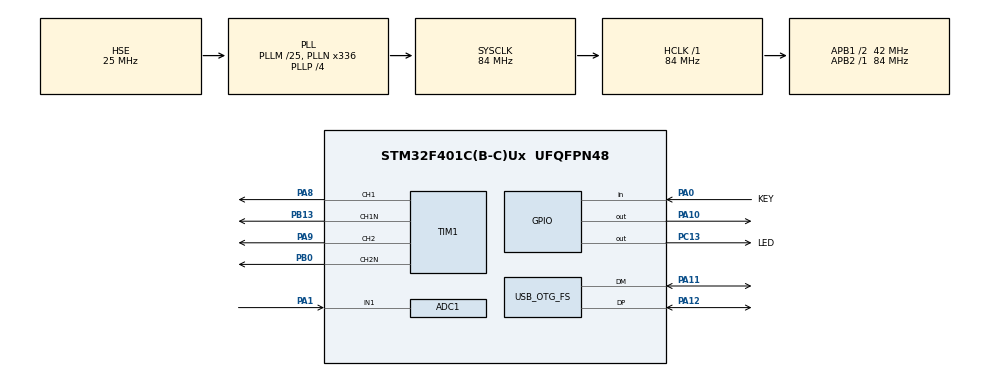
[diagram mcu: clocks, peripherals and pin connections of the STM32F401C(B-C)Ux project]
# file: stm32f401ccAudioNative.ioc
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ADC1.Channel-0\#ChannelRegularConversion=ADC_CHANNEL_1
ADC1.DMAContinuousRequests=ENABLE
ADC1.ExternalTrigConv=ADC_EXTERNALTRIGCONV_T2_TRGO
ADC1.NbrOfConversionFlag=1
ADC1.Rank-0\#ChannelRegularConversion=1
ADC1.SamplingTime-0\#ChannelRegularConversion=ADC_SAMPLETIME_3CYCLES
ADC1.master=1
Dma.ADC1.2.Direction=DMA_PERIPH_TO_MEMORY
Dma.ADC1.2.FIFOMode=DMA_FIFOMODE_DISABLE
Dma.ADC1.2.Instance=DMA2_Stream0
Dma.ADC1.2.MemDataAlignment=DMA_MDATAALIGN_HALFWORD
Dma.ADC1.2.MemInc=DMA_MINC_ENABLE
Dma.ADC1.2.Mode=DMA_CIRCULAR
Dma.ADC1.2.PeriphDataAlignment=DMA_PDATAALIGN_HALFWORD
Dma.ADC1.2.PeriphInc=DMA_PINC_DISABLE
Dma.ADC1.2.Priority=DMA_PRIORITY_VERY_HIGH
Dma.Request0=TIM1_CH1
Dma.Request1=TIM1_CH2
Dma.Request2=ADC1
Dma.TIM1_CH1.0.Direction=DMA_MEMORY_TO_PERIPH
Dma.TIM1_CH1.0.FIFOMode=DMA_FIFOMODE_ENABLE
Dma.TIM1_CH1.0.FIFOThreshold=DMA_FIFO_THRESHOLD_FULL
Dma.TIM1_CH1.0.Instance=DMA2_Stream1
Dma.TIM1_CH1.0.MemBurst=DMA_MBURST_INC8
Dma.TIM1_CH1.0.MemDataAlignment=DMA_MDATAALIGN_HALFWORD
Dma.TIM1_CH1.0.MemInc=DMA_MINC_ENABLE
Dma.TIM1_CH1.0.Mode=DMA_CIRCULAR
Dma.TIM1_CH1.0.PeriphBurst=DMA_PBURST_SINGLE
Dma.TIM1_CH1.0.PeriphDataAlignment=DMA_PDATAALIGN_HALFWORD
Dma.TIM1_CH1.0.PeriphInc=DMA_PINC_DISABLE
Dma.TIM1_CH1.0.Priority=DMA_PRIORITY_HIGH
Dma.TIM1_CH2.1.Direction=DMA_MEMORY_TO_PERIPH
Dma.TIM1_CH2.1.FIFOMode=DMA_FIFOMODE_ENABLE
Dma.TIM1_CH2.1.FIFOThreshold=DMA_FIFO_THRESHOLD_FULL
Dma.TIM1_CH2.1.Instance=DMA2_Stream2
Dma.TIM1_CH2.1.MemBurst=DMA_MBURST_INC8
Dma.TIM1_CH2.1.MemDataAlignment=DMA_MDATAALIGN_HALFWORD
Dma.TIM1_CH2.1.MemInc=DMA_MINC_ENABLE
Dma.TIM1_CH2.1.Mode=DMA_CIRCULAR
Dma.TIM1_CH2.1.PeriphBurst=DMA_PBURST_SINGLE
Dma.TIM1_CH2.1.PeriphDataAlignment=DMA_PDATAALIGN_HALFWORD
Dma.TIM1_CH2.1.PeriphInc=DMA_PINC_DISABLE
Dma.TIM1_CH2.1.Priority=DMA_PRIORITY_HIGH
Mcu.Family=STM32F4
Mcu.Name=STM32F401C(B-C)Ux
Mcu.Package=UFQFPN48
NVIC.DMA2_Stream0_IRQn=true\:0\:0\:false\:false\:true\:false\:true\:true
NVIC.DMA2_Stream1_IRQn=true\:0\:0\:false\:false\:true\:false\:true\:true
NVIC.DMA2_Stream2_IRQn=true\:0\:0\:false\:false\:true\:false\:true\:true
NVIC.OTG_FS_IRQn=true\:0\:0\:false\:false\:true\:false\:true\:true
NVIC.PriorityGroup=NVIC_PRIORITYGROUP_4
PA0-WKUP.GPIO_Label=KEY
PA0-WKUP.GPIO_PuPd=GPIO_PULLUP
PA0-WKUP.Signal=GPIO_Input
PA1.Signal=ADCx_IN1
PA10.Signal=GPIO_Output
PA11.Mode=Device_Only
PA11.Signal=USB_OTG_FS_DM
PA12.Mode=Device_Only
PA12.Signal=USB_OTG_FS_DP
PA13.Mode=Serial_Wire
PA13.Signal=SYS_JTMS-SWDIO
PA14.Mode=Serial_Wire
PA14.Signal=SYS_JTCK-SWCLK
PA8.GPIO_ModeDefaultPP=GPIO_MODE_AF_OD
PA8.GPIO_PuPd=GPIO_PULLUP
PA8.GPIO_Speed=GPIO_SPEED_FREQ_HIGH
PA8.Signal=S_TIM1_CH1
PA9.GPIO_ModeDefaultPP=GPIO_MODE_AF_OD
PA9.GPIO_PuPd=GPIO_PULLUP
PA9.GPIO_Speed=GPIO_SPEED_FREQ_HIGH
PA9.Signal=S_TIM1_CH2
PB0.GPIO_ModeDefaultPP=GPIO_MODE_AF_PP
PB0.GPIO_Speed=GPIO_SPEED_FREQ_HIGH
PB0.Mode=PWM Generation2 CH2 CH2N
PB0.Signal=TIM1_CH2N
PB13.GPIO_ModeDefaultPP=GPIO_MODE_AF_PP
PB13.GPIO_Speed=GPIO_SPEED_FREQ_HIGH
PB13.Mode=PWM Generation1 CH1 CH1N
PB13.Signal=TIM1_CH1N
PB6.Signal=USART1_TX
PB7.Signal=USART1_RX
PC13-ANTI_TAMP.GPIO_Label=LED
PC13-ANTI_TAMP.GPIO_ModeDefaultOutputPP=GPIO_MODE_OUTPUT_OD
PC13-ANTI_TAMP.Signal=GPIO_Output
PC14-OSC32_IN.Mode=LSE-External-Oscillator
PC14-OSC32_IN.Signal=RCC_OSC32_IN
PC15-OSC32_OUT.Mode=LSE-External-Oscillator
PC15-OSC32_OUT.Signal=RCC_OSC32_OUT
PH0\ -\ OSC_IN.Mode=HSE-External-Oscillator
PH0\ -\ OSC_IN.Signal=RCC_OSC_IN
PH1\ -\ OSC_OUT.Mode=HSE-External-Oscillator
PH1\ -\ OSC_OUT.Signal=RCC_OSC_OUT
ProjectManager.HeapSize=0x200
ProjectManager.StackSize=0x400
ProjectManager.TargetToolchain=STM32CubeIDE
RCC.48MHZClocksFreq_Value=48000000
RCC.AHBFreq_Value=84000000
RCC.APB1CLKDivider=RCC_HCLK_DIV2
RCC.APB1Freq_Value=42000000
RCC.APB1TimFreq_Value=84000000
RCC.APB2Freq_Value=84000000
RCC.APB2TimFreq_Value=84000000
RCC.CortexFreq_Value=84000000
RCC.HCLKFreq_Value=84000000
RCC.HSE_VALUE=25000000
RCC.HSI_VALUE=16000000
RCC.PLLM=25
RCC.PLLN=336
RCC.PLLP=RCC_PLLP_DIV4
RCC.PLLQ=7
RCC.SYSCLKFreq_VALUE=84000000
RCC.SYSCLKSource=RCC_SYSCLKSOURCE_PLLCLK
RCC.VCOOutputFreq_Value=336000000
SH.ADCx_IN1.0=ADC1_IN1,IN1
SH.S_TIM1_CH1.0=TIM1_CH1,PWM Generation1 CH1 CH1N
SH.S_TIM1_CH2.0=TIM1_CH2,PWM Generation2 CH2 CH2N
TIM1.Channel-PWM\ Generation1\ CH1\ CH1N=TIM_CHANNEL_1
TIM1.Channel-PWM\ Generation2\ CH2\ CH2N=TIM_CHANNEL_2
TIM2.AutoReloadPreload=TIM_AUTORELOAD_PRELOAD_DISABLE
TIM2.Channel-PWM\ Generation1\ No\ Output=TIM_CHANNEL_1
TIM2.Period=874
TIM2.Prescaler=1
TIM2.TIM_MasterOutputTrigger=TIM_TRGO_UPDATE
TIM3.Prescaler=840/4-1
USB_DEVICE.CLASS_NAME_FS=AUDIO
USB_DEVICE.USBD_AUDIO_FREQ-AUDIO_FS=48000
USB_DEVICE.USBD_SELF_POWERED-AUDIO_FS=0
USB_DEVICE.VirtualMode=Audio
USB_DEVICE.VirtualMode-AUDIO_FS=Audio
USB_DEVICE.VirtualModeFS=Audio_FS
USB_OTG_FS.VirtualMode=Device_Only
VP_TIM2_VS_ClockSourceINT.Mode=Internal
VP_TIM2_VS_no_output1.Mode=PWM Generation1 No Output
VP_TIM3_VS_ClockSourceINT.Mode=Internal
VP_USB_DEVICE_VS_USB_DEVICE_AUDIO_FS.Mode=AUDIO_FS
board=custom

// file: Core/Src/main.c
/* USER CODE BEGIN Header */
/**
  ******************************************************************************
  * @file           : main.c
  * @brief          : Main program body
  ******************************************************************************
  * @attention
  *
  * <h2><center>&copy; Copyright (c) 2022 STMicroelectronics.
  * All rights reserved.</center></h2>
  *
  * This software component is licensed by ST under Ultimate Liberty license
  * SLA0044, the "License"; You may not use this file except in compliance with
  * the License. You may obtain a copy of the License at:
  *                             www.st.com/SLA0044
  *
  ******************************************************************************
  */
/* USER CODE END Header */
#include "main.h"
#include "usb_device.h"

/* USER CODE BEGIN Includes */
#include <stdio.h>
#include <stdlib.h>
#include <math.h>
/* USER CODE END Includes */

/* USER CODE BEGIN PD */

// cpu clock 84 for stm32f401
#define SYS_CLK_MHZ 84

#define TIMER_CLOCK_FREQ 400000.0f

#define FREQ  (48000*8)
#define MAX_VOL  (SYS_CLK_MHZ*1000000/FREQ)

#define SIGMA_BITS  16
#define SIGMA       (1<<SIGMA_BITS)

#define USB_DATA_BITS   16
#define USB_DATA_BITS_H (USB_DATA_BITS-1)

#define N_SIZE_BITS (8)
#define N_SIZE (1<<N_SIZE_BITS)

#define ASBUF_SIZE     (N_SIZE*2)
int16_t baudio_buffer[ASBUF_SIZE];

// between [14  20]
#define TIME_BIT_SCALE_FACT 18u
#define TIME_SCALE_FACT     (1u<<TIME_BIT_SCALE_FACT)

#define VOL_BITS   6
#define VOL_SCALE  (1<<VOL_BITS)
int volume = VOL_SCALE;

uint16_t adcBuffer[ASBUF_SIZE];
/* USER CODE END PD */

ADC_HandleTypeDef hadc1;
DMA_HandleTypeDef hdma_adc1;

TIM_HandleTypeDef htim2;
TIM_HandleTypeDef htim3;

void SystemClock_Config(void);
static void MX_GPIO_Init(void);
static void MX_DMA_Init(void);
static void MX_TIM1_Init(void);
static void MX_TIM3_Init(void);
static void MX_ADC1_Init(void);
static void MX_TIM2_Init(void);

/* USER CODE BEGIN 0 */
void HAL_ADC_ConvHalfCpltCallback(ADC_HandleTypeDef* hadc)
{
	HAL_GPIO_TogglePin(GPIOA, GPIO_PIN_10);
}

void HAL_ADC_ConvCpltCallback(ADC_HandleTypeDef* hadc)
{
	HAL_GPIO_TogglePin(GPIOA, GPIO_PIN_10);
}

uint16_t* VoiceBuff0 = (uint16_t*)&baudio_buffer[0];
uint16_t* VoiceBuff1 = (uint16_t*)&baudio_buffer[N_SIZE];

void TIM1_TE1()
{
}
void TIM1_TC2()
{
}
void TIM1_HT2()
{
}
void TIM1_TE2()
{
}

void init_timers()
{
	  TIM1->ARR = MAX_VOL-1;
	  LL_AHB1_GRP1_EnableClock(LL_AHB1_GRP1_PERIPH_DMA2);
	  LL_DMA_ConfigAddresses(DMA2, LL_DMA_STREAM_1, (uint32_t)&VoiceBuff0[0], (uint32_t)&TIM1->CCR1, LL_DMA_GetDataTransferDirection(DMA2, LL_DMA_STREAM_1));
	  LL_DMA_SetDataLength(DMA2, LL_DMA_STREAM_1, N_SIZE);
	  LL_DMA_EnableIT_TC(DMA2, LL_DMA_STREAM_1);
	  LL_DMA_EnableIT_TE(DMA2, LL_DMA_STREAM_1);
	  LL_DMA_EnableIT_HT(DMA2, LL_DMA_STREAM_1);

	  LL_DMA_ConfigAddresses(DMA2, LL_DMA_STREAM_2, (uint32_t)&VoiceBuff1[0], (uint32_t)&TIM1->CCR2, LL_DMA_GetDataTransferDirection(DMA2, LL_DMA_STREAM_2));
	  LL_DMA_SetDataLength(DMA2, LL_DMA_STREAM_2, N_SIZE);
	  LL_DMA_EnableIT_TC(DMA2, LL_DMA_STREAM_2);
	  LL_DMA_EnableIT_HT(DMA2, LL_DMA_STREAM_2);
	  LL_DMA_EnableIT_TE(DMA2, LL_DMA_STREAM_2);

	  /***************************/
	  /* Enable the DMA transfer */
	  /***************************/
	  LL_DMA_EnableStream(DMA2, LL_DMA_STREAM_1);
	  LL_DMA_EnableStream(DMA2, LL_DMA_STREAM_2);

	  LL_TIM_EnableDMAReq_CC1(TIM1);
	  LL_TIM_EnableDMAReq_CC2(TIM1);

	  LL_TIM_CC_EnableChannel(TIM1, LL_TIM_CHANNEL_CH1);
	  LL_TIM_CC_EnableChannel(TIM1, LL_TIM_CHANNEL_CH2);

	  LL_TIM_OC_EnablePreload(TIM1, LL_TIM_CHANNEL_CH1);
	  LL_TIM_OC_EnablePreload(TIM1, LL_TIM_CHANNEL_CH2);

	  LL_TIM_CC_EnableChannel(TIM1, LL_TIM_CHANNEL_CH1N);
	  LL_TIM_CC_EnableChannel(TIM1, LL_TIM_CHANNEL_CH2N);

	  LL_TIM_EnableCounter(TIM1);

	  LL_TIM_GenerateEvent_UPDATE(TIM1);
	  LL_TIM_GenerateEvent_CC1(TIM1);
}

uint32_t AUDIO_PeriodicTC_FS_Counter;

volatile int AUDIO_OUT_Play_Counter;
volatile int AUDIO_OUT_ChangeBuffer_Counter;
volatile int TransferComplete_CallBack_FS_Counter;
volatile int HalfTransfer_CallBack_FS_Counter;

uint32_t   samplesInBuff        = 0;
int32_t   samplesInBuffH       = 0;
int16_t * usb_SndBuffer        = 0;

uint32_t  samplesInBuffScaled  = 0;
uint32_t  readPositionXScaled  = 0;  //readPosition<<12;
uint32_t  readSpeedXScaled     = 1.001*TIME_SCALE_FACT*USBD_AUDIO_FREQ/(float)FREQ;

struct LR
{
	int16_t L;
	int16_t R;
};

volatile int UsbSamplesAvail = 0;

struct LR getNextSampleLR()
{
	struct LR res ;
	res.L = 0;
	res.R = 0;
	//if(usb_SndBuffer)
	HAL_GPIO_WritePin(LED_GPIO_Port,LED_Pin,GPIO_PIN_SET);

	if(UsbSamplesAvail)
	{
		HAL_GPIO_WritePin(LED_GPIO_Port,LED_Pin,GPIO_PIN_RESET);
		readPositionXScaled += readSpeedXScaled;
		if(readPositionXScaled >= samplesInBuffScaled)
		{
			readPositionXScaled -= samplesInBuffScaled;
		}

		uint32_t readPositionIntC = readPositionXScaled>>TIME_BIT_SCALE_FACT;

		int16_t L  = usb_SndBuffer[readPositionIntC*2+0];
		int16_t R  = usb_SndBuffer[readPositionIntC*2+1];

		res.L = volume*L/VOL_SCALE;
		res.R = volume*R/VOL_SCALE;
	}
    return res;
}
void  AUDIO_Init(uint32_t AudioFreq, uint32_t Volume, uint32_t options)
{
}

void AUDIO_OUT_Start(uint16_t* pBuffer, uint32_t Size)
{
	samplesInBuff = Size/4; //(L & R channels short)
	samplesInBuffH = samplesInBuff/2;

	usb_SndBuffer = pBuffer;
	AUDIO_OUT_Play_Counter++;

	samplesInBuffScaled = samplesInBuff<<TIME_BIT_SCALE_FACT;
	readPositionXScaled = samplesInBuffScaled/2;

}

uint16_t  lastDmaAccessTime;
int       lastDmaPos;
uint32_t   outDmaSpeedScaled;
int       sForcedSpeed;
uint16_t  lastAudioUsbTimeStamp;
float inputSpeed = 0;

int prevPos = -1 ;

int  median3(int  a, int  b, int  c)
{
   return (b<a)
              ?   (b<c)  ?  (c<a) ? c : a  :  b
              :   (a<c)  ?  (c<b) ? c : b  :  a;
}

int timeForRecivedSamples_mean[3];
int pnt_timeForRecivedSamples_mean = 0;
int appDistErr = 0;

void AUDIO_OUT_Periodic(uint16_t* pBuffer, uint32_t Size)
{
	AUDIO_PeriodicTC_FS_Counter++;
	if(!usb_SndBuffer) return ;
	int cPos  = (pBuffer - (uint16_t*)usb_SndBuffer)/2;
	uint16_t lastAudioUsbTimeStampNew = TIM3->CNT;
	if(cPos==0)
	{
		uint16_t timeForRecivedSamples = lastAudioUsbTimeStampNew - lastAudioUsbTimeStamp;

		timeForRecivedSamples_mean [pnt_timeForRecivedSamples_mean++] = timeForRecivedSamples;
		if(pnt_timeForRecivedSamples_mean>2)pnt_timeForRecivedSamples_mean = 0;

        lastAudioUsbTimeStamp = lastAudioUsbTimeStampNew;

	}

	if(cPos==0)
	{
		int  timeForRecivedSamples = median3(timeForRecivedSamples_mean[0],timeForRecivedSamples_mean[1],timeForRecivedSamples_mean[2]);
		if(timeForRecivedSamples)
			inputSpeed = samplesInBuff*TIMER_CLOCK_FREQ/timeForRecivedSamples;

		uint16_t timeFromLastDMA = lastAudioUsbTimeStampNew - lastDmaAccessTime;

		int approximateSamplesOutedFromLastDMA  = ((float)timeFromLastDMA/TIMER_CLOCK_FREQ)*inputSpeed;

		int appDistance  =  (int)(lastDmaPos + approximateSamplesOutedFromLastDMA )-cPos;
		if(appDistance    < 0 ) appDistance += samplesInBuff;
		int err = appDistance - samplesInBuffH;

        if(UsbSamplesAvail)
		{
        	if(timeForRecivedSamples)
        	{
				int dC = appDistance - prevPos;
				while(dC>samplesInBuffH)  dC-=samplesInBuff;
				while(dC<-samplesInBuffH) dC+=samplesInBuff;
				appDistErr = err;
				if(err > samplesInBuffH/2 || err <-samplesInBuffH/2 ) //seems completely lost sync , force set frequency
				{
					float outSpeed = (TIMER_CLOCK_FREQ*(float)outDmaSpeedScaled)/TIME_SCALE_FACT;
					sForcedSpeed = (int)(inputSpeed*TIME_SCALE_FACT/outSpeed);
					readSpeedXScaled = sForcedSpeed;
					readPositionXScaled = samplesInBuffScaled/2;
				}
				else
				{
					//ok - only phase tune
					readSpeedXScaled -= dC + err/256;
				}
        	}
		}
        else
        {
        	readPositionXScaled = samplesInBuffScaled/2;
        }
		prevPos =  appDistance;
		UsbSamplesAvail = samplesInBuff*((int)((float)FREQ/USBD_AUDIO_FREQ+0.5f))*2;
	}
	return 0;
}

void AUDIO_OUT_ChangeBuffer(uint16_t *pBuffer, uint16_t Size)
{
		AUDIO_OUT_ChangeBuffer_Counter++;
}

void cleanAudioBuffer()
{
	for(int k=0;k<N_SIZE;k++)
	{
		VoiceBuff0[k] = 0;
		VoiceBuff1[k] = 0;
	}
}

struct  sigmaDeltaStorage2_SCALED
{
	int integral0;
	int integral1;
};

int sigma_delta2_SCALED(struct sigmaDeltaStorage2_SCALED* st,int x_SCALED)
{
	int y		 =st->integral1>>SIGMA_BITS;
	if(y < 0)
		y = 0;
	if(y > MAX_VOL)
		y = MAX_VOL;

	st->integral0+= x_SCALED      - (y<<SIGMA_BITS);
	st->integral1+= st->integral0 - (y<<SIGMA_BITS);
	return y;
}

struct sigmaDeltaStorage2_SCALED static_L_channel2_SCALED;
struct sigmaDeltaStorage2_SCALED static_R_channel2_SCALED;

int tfl_mean[3];
int pnt_mean = 0;
void checkTime()
{
	uint16_t prevTime;
	uint16_t  tfl;
	prevTime = lastDmaAccessTime;
	lastDmaAccessTime = TIM3->CNT;

	lastDmaPos  = readPositionXScaled>>TIME_BIT_SCALE_FACT;
	tfl      = lastDmaAccessTime -prevTime;

	tfl_mean[pnt_mean] = tfl;
	pnt_mean++;
	if(pnt_mean>2) pnt_mean =0;

    int mean = median3(tfl_mean[0],tfl_mean[1],tfl_mean[2]);
    if (!mean) mean = 1;

	outDmaSpeedScaled =  TIME_SCALE_FACT*N_SIZE/(mean);
}
void readDataTim(int offset)
{
	for(int k=0;k<N_SIZE/2;k++)
	{
		struct LR tt =getNextSampleLR();
		VoiceBuff0[k+offset] =sigma_delta2_SCALED(&static_L_channel2_SCALED,(MAX_VOL*(tt.L+(1<<USB_DATA_BITS_H)))>>(USB_DATA_BITS-SIGMA_BITS));
		VoiceBuff1[k+offset] =sigma_delta2_SCALED(&static_R_channel2_SCALED,(MAX_VOL*(tt.R+(1<<USB_DATA_BITS_H)))>>(USB_DATA_BITS-SIGMA_BITS));
	}
}
void TIM1_TC1()
{

    checkTime();
    if(UsbSamplesAvail > N_SIZE/2)
    {
    	UsbSamplesAvail -= N_SIZE/2;
    }
    else
    {
    	UsbSamplesAvail = 0;
    }
	TransferComplete_CallBack_FS_Counter++;
	readDataTim(N_SIZE/2);
}
void TIM1_HT1()
{
	HalfTransfer_CallBack_FS_Counter++;
    if(UsbSamplesAvail > N_SIZE/2)
    {
    	UsbSamplesAvail -= N_SIZE/2;
    }
    else
    {
    	UsbSamplesAvail = 0;
    }
    readDataTim(0);
}

/* USER CODE END 0 */

int main(void)
{

  /* MCU Configuration--------------------------------------------------------*/

  /* Reset of all peripherals, Initializes the Flash interface and the Systick. */
  HAL_Init();

  /* Configure the system clock */
  SystemClock_Config();

  /* Initialize all configured peripherals */
  MX_GPIO_Init();
  MX_DMA_Init();
  MX_TIM1_Init();
  MX_TIM3_Init();
  MX_USB_DEVICE_Init();
  MX_ADC1_Init();
  MX_TIM2_Init();
  /* USER CODE BEGIN 2 */

  cleanAudioBuffer();
  TIM3->PSC  = (int)(SYS_CLK_MHZ*1000000.0f/TIMER_CLOCK_FREQ)-1;
  HAL_TIM_Base_Start(&htim3);

  LL_TIM_DisableAllOutputs(TIM1);
  init_timers();
  HAL_Delay(100);
  LL_TIM_EnableAllOutputs(TIM1);

  for(uint16_t i = 0; i<ASBUF_SIZE; i++)
  {
	  adcBuffer[i] = 0;
  }
  HAL_ADC_Start_DMA(&hadc1, (uint32_t *) adcBuffer, 256);
  HAL_TIM_Base_Start(&htim2);
  /* USER CODE END 2 */

  /* Infinite loop */
  /* USER CODE BEGIN WHILE */
  int ko = 0;
  while (1)
  {
    /* USER CODE END WHILE */

    /* USER CODE BEGIN 3 */
	  if(HAL_GetTick()/2048!=ko)
	  {
		  ko = HAL_GetTick()/2048;
  	  }
	  HAL_Delay(2);
  }
  /* USER CODE END 3 */
}

void SystemClock_Config(void)
{
  RCC_OscInitTypeDef RCC_OscInitStruct = {0};
  RCC_ClkInitTypeDef RCC_ClkInitStruct = {0};

  /** Configure the main internal regulator output voltage
  */
  __HAL_RCC_PWR_CLK_ENABLE();
  __HAL_PWR_VOLTAGESCALING_CONFIG(PWR_REGULATOR_VOLTAGE_SCALE2);

  /** Initializes the RCC Oscillators according to the specified parameters
  * in the RCC_OscInitTypeDef structure.
  */
  RCC_OscInitStruct.OscillatorType = RCC_OSCILLATORTYPE_HSE;
  RCC_OscInitStruct.HSEState = RCC_HSE_ON;
  RCC_OscInitStruct.PLL.PLLState = RCC_PLL_ON;
  RCC_OscInitStruct.PLL.PLLSource = RCC_PLLSOURCE_HSE;
  RCC_OscInitStruct.PLL.PLLM = 25;
  RCC_OscInitStruct.PLL.PLLN = 336;
  RCC_OscInitStruct.PLL.PLLP = RCC_PLLP_DIV4;
  RCC_OscInitStruct.PLL.PLLQ = 7;
  if (HAL_RCC_OscConfig(&RCC_OscInitStruct) != HAL_OK)
  {
    Error_Handler();
  }

  /** Initializes the CPU, AHB and APB buses clocks
  */
  RCC_ClkInitStruct.ClockType = RCC_CLOCKTYPE_HCLK|RCC_CLOCKTYPE_SYSCLK
                              |RCC_CLOCKTYPE_PCLK1|RCC_CLOCKTYPE_PCLK2;
  RCC_ClkInitStruct.SYSCLKSource = RCC_SYSCLKSOURCE_PLLCLK;
  RCC_ClkInitStruct.AHBCLKDivider = RCC_SYSCLK_DIV1;
  RCC_ClkInitStruct.APB1CLKDivider = RCC_HCLK_DIV2;
  RCC_ClkInitStruct.APB2CLKDivider = RCC_HCLK_DIV1;

  if (HAL_RCC_ClockConfig(&RCC_ClkInitStruct, FLASH_LATENCY_2) != HAL_OK)
  {
    Error_Handler();
  }
}

static void MX_ADC1_Init(void)
{

  ADC_ChannelConfTypeDef sConfig = {0};

  /** Configure the global features of the ADC (Clock, Resolution, Data Alignment and number of conversion)
  */
  hadc1.Instance = ADC1;
  hadc1.Init.ClockPrescaler = ADC_CLOCK_SYNC_PCLK_DIV4;
  hadc1.Init.Resolution = ADC_RESOLUTION_12B;
  hadc1.Init.ScanConvMode = DISABLE;
  hadc1.Init.ContinuousConvMode = DISABLE;
  hadc1.Init.DiscontinuousConvMode = DISABLE;
  hadc1.Init.ExternalTrigConvEdge = ADC_EXTERNALTRIGCONVEDGE_RISING;
  hadc1.Init.ExternalTrigConv = ADC_EXTERNALTRIGCONV_T2_TRGO;
  hadc1.Init.DataAlign = ADC_DATAALIGN_RIGHT;
  hadc1.Init.NbrOfConversion = 1;
  hadc1.Init.DMAContinuousRequests = ENABLE;
  hadc1.Init.EOCSelection = ADC_EOC_SINGLE_CONV;
  if (HAL_ADC_Init(&hadc1) != HAL_OK)
  {
    Error_Handler();
  }

  /** Configure for the selected ADC regular channel its corresponding rank in the sequencer and its sample time.
  */
  sConfig.Channel = ADC_CHANNEL_1;
  sConfig.Rank = 1;
  sConfig.SamplingTime = ADC_SAMPLETIME_3CYCLES;
  if (HAL_ADC_ConfigChannel(&hadc1, &sConfig) != HAL_OK)
  {
    Error_Handler();
  }

}

static void MX_TIM1_Init(void)
{

  LL_TIM_InitTypeDef TIM_InitStruct = {0};
  LL_TIM_OC_InitTypeDef TIM_OC_InitStruct = {0};
  LL_TIM_BDTR_InitTypeDef TIM_BDTRInitStruct = {0};

  LL_GPIO_InitTypeDef GPIO_InitStruct = {0};

  /* Peripheral clock enable */
  LL_APB2_GRP1_EnableClock(LL_APB2_GRP1_PERIPH_TIM1);

  /* TIM1 DMA Init */

  /* TIM1_CH1 Init */
  LL_DMA_SetChannelSelection(DMA2, LL_DMA_STREAM_1, LL_DMA_CHANNEL_6);

  LL_DMA_SetDataTransferDirection(DMA2, LL_DMA_STREAM_1, LL_DMA_DIRECTION_MEMORY_TO_PERIPH);

  LL_DMA_SetStreamPriorityLevel(DMA2, LL_DMA_STREAM_1, LL_DMA_PRIORITY_HIGH);

  LL_DMA_SetMode(DMA2, LL_DMA_STREAM_1, LL_DMA_MODE_CIRCULAR);

  LL_DMA_SetPeriphIncMode(DMA2, LL_DMA_STREAM_1, LL_DMA_PERIPH_NOINCREMENT);

  LL_DMA_SetMemoryIncMode(DMA2, LL_DMA_STREAM_1, LL_DMA_MEMORY_INCREMENT);

  LL_DMA_SetPeriphSize(DMA2, LL_DMA_STREAM_1, LL_DMA_PDATAALIGN_HALFWORD);

  LL_DMA_SetMemorySize(DMA2, LL_DMA_STREAM_1, LL_DMA_MDATAALIGN_HALFWORD);

  LL_DMA_EnableFifoMode(DMA2, LL_DMA_STREAM_1);

  LL_DMA_SetFIFOThreshold(DMA2, LL_DMA_STREAM_1, LL_DMA_FIFOTHRESHOLD_FULL);

  LL_DMA_SetMemoryBurstxfer(DMA2, LL_DMA_STREAM_1, LL_DMA_MBURST_INC8);

  LL_DMA_SetPeriphBurstxfer(DMA2, LL_DMA_STREAM_1, LL_DMA_PBURST_SINGLE);

  /* TIM1_CH2 Init */
  LL_DMA_SetChannelSelection(DMA2, LL_DMA_STREAM_2, LL_DMA_CHANNEL_6);

  LL_DMA_SetDataTransferDirection(DMA2, LL_DMA_STREAM_2, LL_DMA_DIRECTION_MEMORY_TO_PERIPH);

  LL_DMA_SetStreamPriorityLevel(DMA2, LL_DMA_STREAM_2, LL_DMA_PRIORITY_HIGH);

  LL_DMA_SetMode(DMA2, LL_DMA_STREAM_2, LL_DMA_MODE_CIRCULAR);

  LL_DMA_SetPeriphIncMode(DMA2, LL_DMA_STREAM_2, LL_DMA_PERIPH_NOINCREMENT);

  LL_DMA_SetMemoryIncMode(DMA2, LL_DMA_STREAM_2, LL_DMA_MEMORY_INCREMENT);

  LL_DMA_SetPeriphSize(DMA2, LL_DMA_STREAM_2, LL_DMA_PDATAALIGN_HALFWORD);

  LL_DMA_SetMemorySize(DMA2, LL_DMA_STREAM_2, LL_DMA_MDATAALIGN_HALFWORD);

  LL_DMA_EnableFifoMode(DMA2, LL_DMA_STREAM_2);

  LL_DMA_SetFIFOThreshold(DMA2, LL_DMA_STREAM_2, LL_DMA_FIFOTHRESHOLD_FULL);

  LL_DMA_SetMemoryBurstxfer(DMA2, LL_DMA_STREAM_2, LL_DMA_MBURST_INC8);

  LL_DMA_SetPeriphBurstxfer(DMA2, LL_DMA_STREAM_2, LL_DMA_PBURST_SINGLE);

  TIM_InitStruct.Prescaler = 0;
  TIM_InitStruct.CounterMode = LL_TIM_COUNTERMODE_UP;
  TIM_InitStruct.Autoreload = 65535;
  TIM_InitStruct.ClockDivision = LL_TIM_CLOCKDIVISION_DIV1;
  TIM_InitStruct.RepetitionCounter = 0;
  LL_TIM_Init(TIM1, &TIM_InitStruct);
  LL_TIM_DisableARRPreload(TIM1);
  LL_TIM_OC_EnablePreload(TIM1, LL_TIM_CHANNEL_CH1);
  TIM_OC_InitStruct.OCMode = LL_TIM_OCMODE_PWM1;
  TIM_OC_InitStruct.OCState = LL_TIM_OCSTATE_DISABLE;
  TIM_OC_InitStruct.OCNState = LL_TIM_OCSTATE_DISABLE;
  TIM_OC_InitStruct.CompareValue = 0;
  TIM_OC_InitStruct.OCPolarity = LL_TIM_OCPOLARITY_HIGH;
  TIM_OC_InitStruct.OCNPolarity = LL_TIM_OCPOLARITY_HIGH;
  TIM_OC_InitStruct.OCIdleState = LL_TIM_OCIDLESTATE_LOW;
  TIM_OC_InitStruct.OCNIdleState = LL_TIM_OCIDLESTATE_LOW;
  LL_TIM_OC_Init(TIM1, LL_TIM_CHANNEL_CH1, &TIM_OC_InitStruct);
  LL_TIM_OC_DisableFast(TIM1, LL_TIM_CHANNEL_CH1);
  LL_TIM_OC_EnablePreload(TIM1, LL_TIM_CHANNEL_CH2);
  LL_TIM_OC_Init(TIM1, LL_TIM_CHANNEL_CH2, &TIM_OC_InitStruct);
  LL_TIM_OC_DisableFast(TIM1, LL_TIM_CHANNEL_CH2);
  LL_TIM_SetTriggerOutput(TIM1, LL_TIM_TRGO_RESET);
  LL_TIM_DisableMasterSlaveMode(TIM1);
  TIM_BDTRInitStruct.OSSRState = LL_TIM_OSSR_DISABLE;
  TIM_BDTRInitStruct.OSSIState = LL_TIM_OSSI_DISABLE;
  TIM_BDTRInitStruct.LockLevel = LL_TIM_LOCKLEVEL_OFF;
  TIM_BDTRInitStruct.DeadTime = 0;
  TIM_BDTRInitStruct.BreakState = LL_TIM_BREAK_DISABLE;
  TIM_BDTRInitStruct.BreakPolarity = LL_TIM_BREAK_POLARITY_HIGH;
  TIM_BDTRInitStruct.AutomaticOutput = LL_TIM_AUTOMATICOUTPUT_DISABLE;
  LL_TIM_BDTR_Init(TIM1, &TIM_BDTRInitStruct);
  LL_AHB1_GRP1_EnableClock(LL_AHB1_GRP1_PERIPH_GPIOB);
  LL_AHB1_GRP1_EnableClock(LL_AHB1_GRP1_PERIPH_GPIOA);
  /**TIM1 GPIO Configuration
  PB0   ------> TIM1_CH2N
  PB13   ------> TIM1_CH1N
  PA8   ------> TIM1_CH1
  PA9   ------> TIM1_CH2
  */
  GPIO_InitStruct.Pin = LL_GPIO_PIN_0|LL_GPIO_PIN_13;
  GPIO_InitStruct.Mode = LL_GPIO_MODE_ALTERNATE;
  GPIO_InitStruct.Speed = LL_GPIO_SPEED_FREQ_HIGH;
  GPIO_InitStruct.OutputType = LL_GPIO_OUTPUT_PUSHPULL;
  GPIO_InitStruct.Pull = LL_GPIO_PULL_NO;
  GPIO_InitStruct.Alternate = LL_GPIO_AF_1;
  LL_GPIO_Init(GPIOB, &GPIO_InitStruct);

  GPIO_InitStruct.Pin = LL_GPIO_PIN_8|LL_GPIO_PIN_9;
  GPIO_InitStruct.Mode = LL_GPIO_MODE_ALTERNATE;
  GPIO_InitStruct.Speed = LL_GPIO_SPEED_FREQ_HIGH;
  GPIO_InitStruct.OutputType = LL_GPIO_OUTPUT_OPENDRAIN;
  GPIO_InitStruct.Pull = LL_GPIO_PULL_UP;
  GPIO_InitStruct.Alternate = LL_GPIO_AF_1;
  LL_GPIO_Init(GPIOA, &GPIO_InitStruct);

}

static void MX_TIM2_Init(void)
{

  TIM_ClockConfigTypeDef sClockSourceConfig = {0};
  TIM_MasterConfigTypeDef sMasterConfig = {0};
  TIM_OC_InitTypeDef sConfigOC = {0};

  htim2.Instance = TIM2;
  htim2.Init.Prescaler = 1;
  htim2.Init.CounterMode = TIM_COUNTERMODE_UP;
  htim2.Init.Period = 874;
  htim2.Init.ClockDivision = TIM_CLOCKDIVISION_DIV1;
  htim2.Init.AutoReloadPreload = TIM_AUTORELOAD_PRELOAD_DISABLE;
  if (HAL_TIM_Base_Init(&htim2) != HAL_OK)
  {
    Error_Handler();
  }
  sClockSourceConfig.ClockSource = TIM_CLOCKSOURCE_INTERNAL;
  if (HAL_TIM_ConfigClockSource(&htim2, &sClockSourceConfig) != HAL_OK)
  {
    Error_Handler();
  }
  if (HAL_TIM_PWM_Init(&htim2) != HAL_OK)
  {
    Error_Handler();
  }
  sMasterConfig.MasterOutputTrigger = TIM_TRGO_UPDATE;
  sMasterConfig.MasterSlaveMode = TIM_MASTERSLAVEMODE_DISABLE;
  if (HAL_TIMEx_MasterConfigSynchronization(&htim2, &sMasterConfig) != HAL_OK)
  {
    Error_Handler();
  }
  sConfigOC.OCMode = TIM_OCMODE_PWM1;
  sConfigOC.Pulse = 0;
  sConfigOC.OCPolarity = TIM_OCPOLARITY_HIGH;
  sConfigOC.OCFastMode = TIM_OCFAST_DISABLE;
  if (HAL_TIM_PWM_ConfigChannel(&htim2, &sConfigOC, TIM_CHANNEL_1) != HAL_OK)
  {
    Error_Handler();
  }

}

static void MX_TIM3_Init(void)
{

  TIM_ClockConfigTypeDef sClockSourceConfig = {0};
  TIM_MasterConfigTypeDef sMasterConfig = {0};

  htim3.Instance = TIM3;
  htim3.Init.Prescaler = 840/4-1;
  htim3.Init.CounterMode = TIM_COUNTERMODE_UP;
  htim3.Init.Period = 65535;
  htim3.Init.ClockDivision = TIM_CLOCKDIVISION_DIV1;
  htim3.Init.AutoReloadPreload = TIM_AUTORELOAD_PRELOAD_DISABLE;
  if (HAL_TIM_Base_Init(&htim3) != HAL_OK)
  {
    Error_Handler();
  }
  sClockSourceConfig.ClockSource = TIM_CLOCKSOURCE_INTERNAL;
  if (HAL_TIM_ConfigClockSource(&htim3, &sClockSourceConfig) != HAL_OK)
  {
    Error_Handler();
  }
  sMasterConfig.MasterOutputTrigger = TIM_TRGO_RESET;
  sMasterConfig.MasterSlaveMode = TIM_MASTERSLAVEMODE_DISABLE;
  if (HAL_TIMEx_MasterConfigSynchronization(&htim3, &sMasterConfig) != HAL_OK)
  {
    Error_Handler();
  }

}

static void MX_DMA_Init(void)
{

  /* DMA controller clock enable */
  __HAL_RCC_DMA2_CLK_ENABLE();

  /* DMA interrupt init */
  /* DMA2_Stream0_IRQn interrupt configuration */
  HAL_NVIC_SetPriority(DMA2_Stream0_IRQn, 0, 0);
  HAL_NVIC_EnableIRQ(DMA2_Stream0_IRQn);
  /* DMA2_Stream1_IRQn interrupt configuration */
  NVIC_SetPriority(DMA2_Stream1_IRQn, NVIC_EncodePriority(NVIC_GetPriorityGrouping(),0, 0));
  NVIC_EnableIRQ(DMA2_Stream1_IRQn);
  /* DMA2_Stream2_IRQn interrupt configuration */
  NVIC_SetPriority(DMA2_Stream2_IRQn, NVIC_EncodePriority(NVIC_GetPriorityGrouping(),0, 0));
  NVIC_EnableIRQ(DMA2_Stream2_IRQn);

}

static void MX_GPIO_Init(void)
{
  GPIO_InitTypeDef GPIO_InitStruct = {0};

  /* GPIO Ports Clock Enable */
  __HAL_RCC_GPIOC_CLK_ENABLE();
  __HAL_RCC_GPIOH_CLK_ENABLE();
  __HAL_RCC_GPIOA_CLK_ENABLE();
  __HAL_RCC_GPIOB_CLK_ENABLE();

  /*Configure GPIO pin Output Level */
  HAL_GPIO_WritePin(LED_GPIO_Port, LED_Pin, GPIO_PIN_RESET);

  /*Configure GPIO pin Output Level */
  HAL_GPIO_WritePin(GPIOA, GPIO_PIN_10, GPIO_PIN_RESET);

  /*Configure GPIO pin : LED_Pin */
  GPIO_InitStruct.Pin = LED_Pin;
  GPIO_InitStruct.Mode = GPIO_MODE_OUTPUT_OD;
  GPIO_InitStruct.Pull = GPIO_NOPULL;
  GPIO_InitStruct.Speed = GPIO_SPEED_FREQ_LOW;
  HAL_GPIO_Init(LED_GPIO_Port, &GPIO_InitStruct);

  /*Configure GPIO pin : KEY_Pin */
  GPIO_InitStruct.Pin = KEY_Pin;
  GPIO_InitStruct.Mode = GPIO_MODE_INPUT;
  GPIO_InitStruct.Pull = GPIO_PULLUP;
  HAL_GPIO_Init(KEY_GPIO_Port, &GPIO_InitStruct);

  /*Configure GPIO pin : PA10 */
  GPIO_InitStruct.Pin = GPIO_PIN_10;
  GPIO_InitStruct.Mode = GPIO_MODE_OUTPUT_PP;
  GPIO_InitStruct.Pull = GPIO_NOPULL;
  GPIO_InitStruct.Speed = GPIO_SPEED_FREQ_LOW;
  HAL_GPIO_Init(GPIOA, &GPIO_InitStruct);

  /*Configure GPIO pins : PB6 PB7 */
  GPIO_InitStruct.Pin = GPIO_PIN_6|GPIO_PIN_7;
  GPIO_InitStruct.Mode = GPIO_MODE_AF_PP;
  GPIO_InitStruct.Pull = GPIO_NOPULL;
  GPIO_InitStruct.Speed = GPIO_SPEED_FREQ_VERY_HIGH;
  GPIO_InitStruct.Alternate = GPIO_AF7_USART1;
  HAL_GPIO_Init(GPIOB, &GPIO_InitStruct);

}

void Error_Handler(void)
{
  __disable_irq();
  while (1)
  {
  }
}
